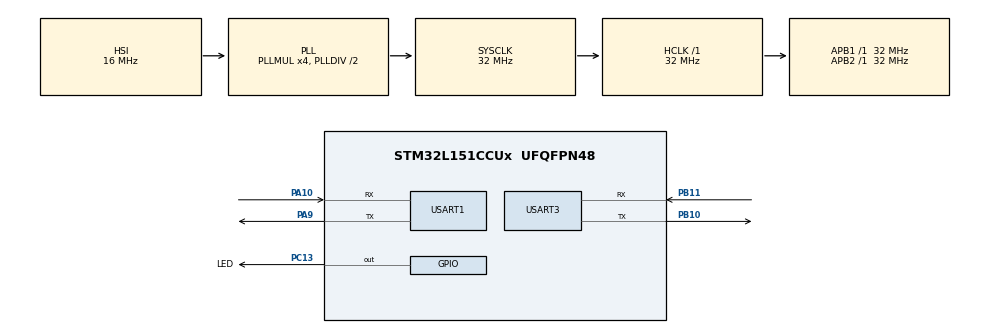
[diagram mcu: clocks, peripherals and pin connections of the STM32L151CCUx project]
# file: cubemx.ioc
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Dma.Request0=USART1_RX
Dma.Request1=USART1_TX
Dma.USART1_RX.0.Direction=DMA_PERIPH_TO_MEMORY
Dma.USART1_RX.0.Instance=DMA1_Channel5
Dma.USART1_RX.0.MemDataAlignment=DMA_MDATAALIGN_BYTE
Dma.USART1_RX.0.MemInc=DMA_MINC_ENABLE
Dma.USART1_RX.0.Mode=DMA_NORMAL
Dma.USART1_RX.0.PeriphDataAlignment=DMA_PDATAALIGN_BYTE
Dma.USART1_RX.0.PeriphInc=DMA_PINC_DISABLE
Dma.USART1_RX.0.Priority=DMA_PRIORITY_LOW
Dma.USART1_TX.1.Direction=DMA_MEMORY_TO_PERIPH
Dma.USART1_TX.1.Instance=DMA1_Channel4
Dma.USART1_TX.1.MemDataAlignment=DMA_MDATAALIGN_BYTE
Dma.USART1_TX.1.MemInc=DMA_MINC_ENABLE
Dma.USART1_TX.1.Mode=DMA_NORMAL
Dma.USART1_TX.1.PeriphDataAlignment=DMA_PDATAALIGN_BYTE
Dma.USART1_TX.1.PeriphInc=DMA_PINC_DISABLE
Dma.USART1_TX.1.Priority=DMA_PRIORITY_LOW
Mcu.Family=STM32L1
Mcu.Name=STM32L151CCUx
Mcu.Package=UFQFPN48
NVIC.DMA1_Channel4_IRQn=true\:0\:0\:false\:false\:true\:false\:true
NVIC.DMA1_Channel5_IRQn=true\:0\:0\:false\:false\:true\:false\:true
NVIC.PriorityGroup=NVIC_PRIORITYGROUP_4
NVIC.USART1_IRQn=true\:0\:0\:false\:false\:true\:true\:true
NVIC.USART3_IRQn=true\:0\:0\:false\:false\:true\:true\:true
PA10.Mode=Asynchronous
PA10.Signal=USART1_RX
PA13.Mode=Serial_Wire
PA13.Signal=SYS_JTMS-SWDIO
PA14.Mode=Serial_Wire
PA14.Signal=SYS_JTCK-SWCLK
PA9.Mode=Asynchronous
PA9.Signal=USART1_TX
PB10.Mode=Asynchronous
PB10.Signal=USART3_TX
PB11.Mode=Asynchronous
PB11.Signal=USART3_RX
PC13-WKUP2.GPIO_Label=LED
PC13-WKUP2.GPIO_Speed=GPIO_SPEED_FREQ_MEDIUM
PC13-WKUP2.PinState=GPIO_PIN_SET
PC13-WKUP2.Signal=GPIO_Output
PC14-OSC32_IN.Mode=LSE-External-Oscillator
PC14-OSC32_IN.Signal=RCC_OSC32_IN
PC15-OSC32_OUT.Mode=LSE-External-Oscillator
PC15-OSC32_OUT.Signal=RCC_OSC32_OUT
PH0-OSC_IN.Mode=HSE-External-Oscillator
PH0-OSC_IN.Signal=RCC_OSC_IN
PH1-OSC_OUT.Mode=HSE-External-Oscillator
PH1-OSC_OUT.Signal=RCC_OSC_OUT
ProjectManager.HeapSize=0x200
ProjectManager.StackSize=0x400
ProjectManager.TargetToolchain=MDK-ARM V5.27
RCC.48MHZClocksFreq_Value=32000000
RCC.AHBFreq_Value=32000000
RCC.APB1Freq_Value=32000000
RCC.APB1TimFreq_Value=32000000
RCC.APB2Freq_Value=32000000
RCC.APB2TimFreq_Value=32000000
RCC.HCLKFreq_Value=32000000
RCC.HSE_VALUE=24000000
RCC.HSI_VALUE=16000000
RCC.MSI_VALUE=2097000
RCC.PLLMUL=RCC_PLL_MUL4
RCC.SYSCLKFreq_VALUE=32000000
RCC.SYSCLKSource=RCC_SYSCLKSOURCE_PLLCLK
RCC.VCOOutputFreq_Value=64000000
USART1.VirtualMode=VM_ASYNC
USART3.VirtualMode=VM_ASYNC
board=custom

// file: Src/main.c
/* USER CODE BEGIN Header */
/**
  ******************************************************************************
  * @file           : main.c
  * @brief          : Main program body
  ******************************************************************************
  * @attention
  *
  * <h2><center>&copy; Copyright (c) 2021 STMicroelectronics.
  * All rights reserved.</center></h2>
  *
  * This software component is licensed by ST under BSD 3-Clause license,
  * the "License"; You may not use this file except in compliance with the
  * License. You may obtain a copy of the License at:
  *                        opensource.org/licenses/BSD-3-Clause
  *
  ******************************************************************************
  */
/* USER CODE END Header */
#include "main.h"

/* USER CODE BEGIN Includes */
#include "ringbuffer.h"
#include <string.h>
#include <stdio.h>

/* USER CODE END Includes */

UART_HandleTypeDef huart1;
UART_HandleTypeDef huart3;
DMA_HandleTypeDef hdma_usart1_rx;
DMA_HandleTypeDef hdma_usart1_tx;

/* USER CODE BEGIN PV */

#if UART1_HW_AVAILABLE
UART_HandleTypeDef              huart1;
DMA_HandleTypeDef               hdma_uart1_rx;
uint8_t                         aDMABuf_uart1_rx[UART_DMA_BUF_SIZE]    = {0};
ring_buf_t                      tRingBuf_uart1_rx;
ring_buf_t                      tRingBuf_uart1_tx;
uint8_t                         aRxBuf_Uart1[UART_RINGBUF_SIZE]    = {0};
uint8_t                         aTxBuf_Uart1[UART_RINGBUF_SIZE]    = {0};
struct                          rt_semaphore rtSemUart1Rx;
#endif

/* USER CODE END PV */

void SystemClock_Config(void);
static void MX_GPIO_Init(void);
static void MX_DMA_Init(void);
static void MX_USART1_UART_Init(void);
static void MX_USART3_UART_Init(void);

__WEAK __WEAK int main(void)
{

  /* MCU Configuration--------------------------------------------------------*/

  /* Reset of all peripherals, Initializes the Flash interface and the Systick. */
  HAL_Init();

  /* Configure the system clock */
  SystemClock_Config();

  /* Initialize all configured peripherals */
  MX_GPIO_Init();
  MX_DMA_Init();
  MX_USART1_UART_Init();
  MX_USART3_UART_Init();

  /* Infinite loop */
  while (1)
  {

  }
}

void SystemClock_Config(void)
{
  RCC_OscInitTypeDef RCC_OscInitStruct = {0};
  RCC_ClkInitTypeDef RCC_ClkInitStruct = {0};

  /** Configure the main internal regulator output voltage
  */
  __HAL_PWR_VOLTAGESCALING_CONFIG(PWR_REGULATOR_VOLTAGE_SCALE1);
  /** Initializes the RCC Oscillators according to the specified parameters
  * in the RCC_OscInitTypeDef structure.
  */
  RCC_OscInitStruct.OscillatorType = RCC_OSCILLATORTYPE_HSI;
  RCC_OscInitStruct.HSIState = RCC_HSI_ON;
  RCC_OscInitStruct.HSICalibrationValue = RCC_HSICALIBRATION_DEFAULT;
  RCC_OscInitStruct.PLL.PLLState = RCC_PLL_ON;
  RCC_OscInitStruct.PLL.PLLSource = RCC_PLLSOURCE_HSI;
  RCC_OscInitStruct.PLL.PLLMUL = RCC_PLL_MUL4;
  RCC_OscInitStruct.PLL.PLLDIV = RCC_PLL_DIV2;
  if (HAL_RCC_OscConfig(&RCC_OscInitStruct) != HAL_OK)
  {
    Error_Handler();
  }
  /** Initializes the CPU, AHB and APB buses clocks
  */
  RCC_ClkInitStruct.ClockType = RCC_CLOCKTYPE_HCLK|RCC_CLOCKTYPE_SYSCLK
                              |RCC_CLOCKTYPE_PCLK1|RCC_CLOCKTYPE_PCLK2;
  RCC_ClkInitStruct.SYSCLKSource = RCC_SYSCLKSOURCE_PLLCLK;
  RCC_ClkInitStruct.AHBCLKDivider = RCC_SYSCLK_DIV1;
  RCC_ClkInitStruct.APB1CLKDivider = RCC_HCLK_DIV1;
  RCC_ClkInitStruct.APB2CLKDivider = RCC_HCLK_DIV1;

  if (HAL_RCC_ClockConfig(&RCC_ClkInitStruct, FLASH_LATENCY_1) != HAL_OK)
  {
    Error_Handler();
  }
}

/* USART1 init function */

void MX_USART1_UART_Init(void)
{
    static uint8_t uart1_init_clpt_flag = 0;
    if(uart1_init_clpt_flag == 0)
    {
            huart1.Instance = USART1;
            huart1.Init.BaudRate = 115200;
            huart1.Init.WordLength = UART_WORDLENGTH_8B;
            huart1.Init.StopBits = UART_STOPBITS_1;
            huart1.Init.Parity = UART_PARITY_NONE;
            huart1.Init.Mode = UART_MODE_TX_RX;
            huart1.Init.HwFlowCtl = UART_HWCONTROL_NONE;
            huart1.Init.OverSampling = UART_OVERSAMPLING_16;
            if (HAL_UART_Init(&huart1) != HAL_OK)
            {
                Error_Handler();
            }
            ring_buf_create(&tRingBuf_uart1_rx, aRxBuf_Uart1, sizeof(aRxBuf_Uart1));
            ring_buf_create(&tRingBuf_uart1_tx, aTxBuf_Uart1, sizeof(aTxBuf_Uart1));

            rt_sem_init(&rtSemUart1Rx, "uart1 rx",0,RT_IPC_FLAG_FIFO);
            #if (UART1_USE_DMA)
            __HAL_UART_ENABLE_IT(&huart1, UART_IT_IDLE);
            HAL_UART_Receive_DMA(&huart1,aDMABuf_uart1_rx,UART_DMA_BUF_SIZE);
            #else
            __HAL_UART_ENABLE_IT(&huart1, UART_IT_RXNE);
            __HAL_UART_ENABLE_IT(&huart1, UART_IT_IDLE);
            #endif
            uart1_init_clpt_flag = 1;
    }
}
/* USART3 init function */

void MX_USART3_UART_Init(void)
{

  huart3.Instance = USART3;
  huart3.Init.BaudRate = 115200;
  huart3.Init.WordLength = UART_WORDLENGTH_8B;
  huart3.Init.StopBits = UART_STOPBITS_1;
  huart3.Init.Parity = UART_PARITY_NONE;
  huart3.Init.Mode = UART_MODE_TX_RX;
  huart3.Init.HwFlowCtl = UART_HWCONTROL_NONE;
  huart3.Init.OverSampling = UART_OVERSAMPLING_16;
  if (HAL_UART_Init(&huart3) != HAL_OK)
  {
    Error_Handler();
  }

}

/* USER CODE BEGIN 1 */
void rt_hw_console_output(const char *str)
{
    rt_size_t i = 0, size = 0;
    char a = '\r';

    __HAL_UNLOCK(&huart3);

    size = rt_strlen(str);
    for (i = 0; i < size; i++)
    {
        if (*(str + i) == '\n')
        {
            HAL_UART_Transmit(&huart3, (uint8_t *)&a, 1, 1);
        }
        HAL_UART_Transmit(&huart3, (uint8_t *)(str + i), 1, 1);
    }
}

char rt_hw_console_getchar(void)
{
        int ch = -1;
        if (__HAL_UART_GET_FLAG(&huart3, UART_FLAG_RXNE) != RESET)
        {
                //notice stm32f429 and stm32f475 is different
                //stm32l475：ch = huart1.Instance->RDR
                //stm32f429：ch = huart1.Instance->DR
                ch = huart3.Instance->DR & 0xff;
        }
        else
        {
                if(__HAL_UART_GET_FLAG(&huart3, UART_FLAG_ORE) != RESET)
                {
                        __HAL_UART_CLEAR_OREFLAG(&huart3);
                }
                rt_thread_mdelay(10);
        }
        return ch;
}

//static void atcmd(int argc, char**argv)
//{
//    if (argc < 2)
//    {
//        rt_kprintf("Please input'atcmd <server|client>'\n");
//        return;
//    }

//    if (!rt_strcmp(argv[1], "server"))
//    {
//        rt_kprintf("AT server!\n");
//    }
//    else if (!rt_strcmp(argv[1], "client"))
//    {
//        rt_kprintf("AT client!\n");
//    }
//    else
//    {
//        rt_kprintf("Please input'atcmd <server|client>'\n");
//    }
//}

//MSH_CMD_EXPORT(atcmd, atcmd sample: atcmd <server|client>);

#if UART1_HW_AVAILABLE
void USART1_IRQHandler(void)
{
    rt_interrupt_enter();

    uint8_t     u8Data = 0;

#if (UART1_USE_DMA)
    uint16_t rx_len = 0;
    if(__HAL_UART_GET_FLAG(&huart1,UART_FLAG_IDLE)!= RESET)
    {
        __HAL_UART_CLEAR_IDLEFLAG(&huart1);
        HAL_UART_DMAStop(&huart1);

        rx_len = __HAL_DMA_GET_COUNTER(&hdma_uart1_rx);
        rx_len = UART_DMA_BUF_SIZE - rx_len;

        ring_buf_put(&tRingBuf_uart1_rx, aDMABuf_uart1_rx, rx_len);

        HAL_UART_Receive_DMA(&huart1,aDMABuf_uart1_rx,UART_DMA_BUF_SIZE);

        rt_sem_release(&rtSemUart1Rx);
    }
#else
    if(__HAL_UART_GET_FLAG(&huart1,UART_FLAG_RXNE)!= RESET)
    {
        u8Data = USART1->DR & 0xff;
        ring_buf_put(&tRingBuf_uart1_rx, &u8Data, 1);
        //rt_sem_release(&rtSemUart1Rx);

    }
    if(__HAL_UART_GET_FLAG(&huart1,UART_FLAG_IDLE)!= RESET)
    {
        __HAL_UART_CLEAR_IDLEFLAG(&huart1);
        rt_sem_release(&rtSemUart1Rx);
    }
#endif
    if(__HAL_UART_GET_FLAG(&huart1,UART_FLAG_TXE)!= RESET)
    {
        if(ring_buf_get(&tRingBuf_uart1_tx, &u8Data, 1))
        {
            USART1->DR = u8Data;
        }
        else
        {
            __HAL_UART_DISABLE_IT(&huart1, UART_IT_TXE);
        }
    }

    HAL_UART_IRQHandler(&huart1);

    rt_interrupt_leave();
}
#endif

#if (UART1_USE_DMA)
void DMA1_Channel5_IRQHandler(void)
{
    rt_interrupt_enter();

  HAL_DMA_IRQHandler(&hdma_uart1_rx);

    rt_interrupt_leave();
}
#endif
void HAL_UART_RxCpltCallback(UART_HandleTypeDef *huart)
{
    if(huart->Instance == USART1)
    {
#if (UART1_USE_DMA)
        ring_buf_put(&tRingBuf_uart1_rx, aDMABuf_uart1_rx, UART_DMA_BUF_SIZE);
        rt_sem_release(&rtSemUart1Rx);
#endif
    }
    else if(huart->Instance==USART2)
    {
#if (UART2_USE_DMA)
                ring_buf_put(&tRingBuf_uart2_rx, aDMABuf_uart2_rx, UART_DMA_BUF_SIZE);
        rt_sem_release(&rtSemUart2Rx);
#endif
    }
    else if(huart->Instance==USART3)
    {
#if (UART3_USE_DMA)
                ring_buf_put(&tRingBuf_uart3_rx, aDMABuf_uart3_rx, UART_DMA_BUF_SIZE);
        rt_sem_release(&rtSemUart3Rx);
#endif
    }
}
#if UART1_HW_AVAILABLE

uint32_t uart1_send(const void *buf ,uint32_t len)
{
    uint32_t ret;

    ret = ring_buf_put(&tRingBuf_uart1_tx, (uint8_t *)buf, len);

        if(__HAL_UART_GET_FLAG(&huart1,UART_FLAG_TXE) != RESET)
        {
            __HAL_UART_ENABLE_IT(&huart1, UART_IT_TXE);
        }

    return ret;
}

void uart1_putstr(const char *str)
{
    uint32_t  u32Len = 0;

    u32Len = strlen(str);
    char cAA = '\r';

    uart1_send((void *)str, u32Len - 1);
    if(*(str+u32Len - 1) == '\n')
    {
        uart1_send(&cAA, 1);
    }
    uart1_send((void *)(str + u32Len - 1), 1);
}
uint32_t uart1_buflen(void)
{
    return ring_buf_len(&tRingBuf_uart1_rx);
}
uint32_t uart1_read(void *buf, unsigned int len)
{
    return ring_buf_get(&tRingBuf_uart1_rx, (uint8_t *)buf, len);
}

uint32_t uart1_blocking_send(void *buf ,uint32_t len)
{
    while(__HAL_UART_GET_FLAG(&huart1,UART_FLAG_TXE)== RESET);
    HAL_UART_Transmit(&huart1,(uint8_t *)buf,len,0xffffffff);
    while(__HAL_UART_GET_FLAG(&huart1,UART_FLAG_TXE)== RESET);
    return 0;
}

static void MX_DMA_Init(void)
{

  /* DMA controller clock enable */
  __HAL_RCC_DMA1_CLK_ENABLE();

  /* DMA interrupt init */
  /* DMA1_Channel4_IRQn interrupt configuration */
  HAL_NVIC_SetPriority(DMA1_Channel4_IRQn, 0, 0);
  HAL_NVIC_EnableIRQ(DMA1_Channel4_IRQn);
  /* DMA1_Channel5_IRQn interrupt configuration */
  HAL_NVIC_SetPriority(DMA1_Channel5_IRQn, 0, 0);
  HAL_NVIC_EnableIRQ(DMA1_Channel5_IRQn);

}

static void MX_GPIO_Init(void)
{
  GPIO_InitTypeDef GPIO_InitStruct = {0};

  /* GPIO Ports Clock Enable */
  __HAL_RCC_GPIOC_CLK_ENABLE();
  __HAL_RCC_GPIOH_CLK_ENABLE();
  __HAL_RCC_GPIOB_CLK_ENABLE();
  __HAL_RCC_GPIOA_CLK_ENABLE();

  /*Configure GPIO pin Output Level */
  HAL_GPIO_WritePin(LED_GPIO_Port, LED_Pin, GPIO_PIN_SET);

  /*Configure GPIO pin : LED_Pin */
  GPIO_InitStruct.Pin = LED_Pin;
  GPIO_InitStruct.Mode = GPIO_MODE_OUTPUT_PP;
  GPIO_InitStruct.Pull = GPIO_NOPULL;
  GPIO_InitStruct.Speed = GPIO_SPEED_FREQ_MEDIUM;
  HAL_GPIO_Init(LED_GPIO_Port, &GPIO_InitStruct);

}

#endif
/* USER CODE BEGIN 4 */
void Sys_init(void)
{
    HAL_Init();
    MX_GPIO_Init();
    MX_DMA_Init();
    MX_USART1_UART_Init();
    MX_USART3_UART_Init();

}
/* USER CODE END 4 */

void Error_Handler(void)
{
}

/************************ (C) COPYRIGHT STMicroelectronics *****END OF FILE****/
